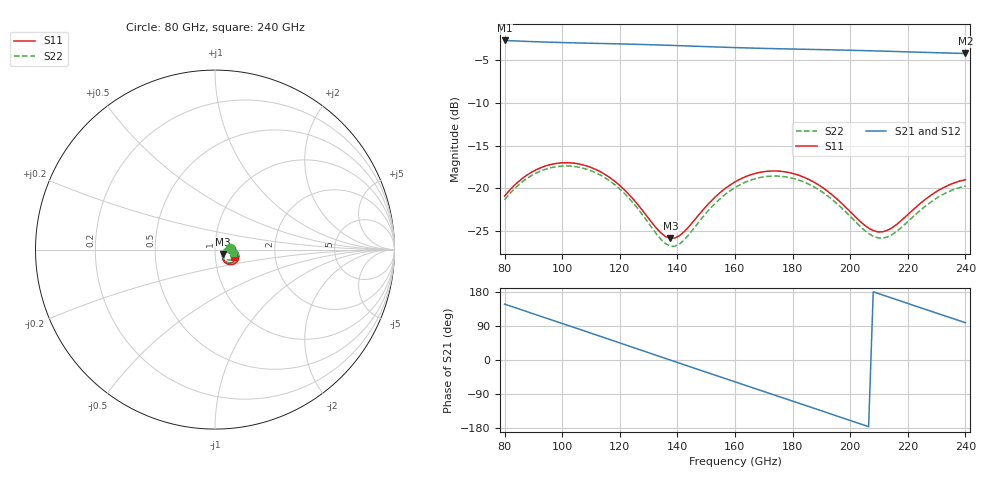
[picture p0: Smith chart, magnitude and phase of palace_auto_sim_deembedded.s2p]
! Created with skrf 1.11.0 (http://scikit-rf.org).
# GHz S DB R 50.0
!freq dBS11 angS11 dBS21 angS21 dBS12 angS12 dBS22 angS22
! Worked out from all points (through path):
!   101 points, 80 GHz to 240 GHz, reference 50 ohm
!   highest |S21| = -2.75 dB at 80 GHz (marker M1); lowest = -4.3 dB at 240 GHz (marker M2)
!   group delay of S21, straight-line fit = 7.1 ps
!   lowest |S11| = -25.8 dB at 137.6 GHz (marker M3), VSWR 1.11, Z = 54.7 - j2.6 ohm
!   |S11| at or under -10 dB: start of sweep to end of sweep
!   |S22| runs from -26.7 to -17.4 dB; largest |S21 - S12| = 7.4e-14
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80  -20.90 3.9  -2.75 147.4  -2.75 147.4  -21.34 7.3
88  -18.40 -3.3  -2.86 127.0  -2.86 127.0  -18.79 0.4
94.4  -17.37 -12.5  -2.94 110.7  -2.94 110.7  -17.74 -8.6
100.8  -17.01 -22.7  -3.00 94.3  -3.00 94.3  -17.38 -18.6
107.2  -17.26 -33.0  -3.05 78.0  -3.05 78.0  -17.64 -28.8
113.6  -18.13 -42.4  -3.10 61.5  -3.10 61.5  -18.51 -38.2
121.6  -20.17 -51.1  -3.16 40.9  -3.16 40.9  -20.59 -46.9
128  -22.63 -51.7  -3.22 24.4  -3.22 24.4  -23.13 -47.9
134.4  -25.24 -39.5  -3.28 7.9  -3.28 7.9  -25.99 -35.7
137.6  -25.84 -27.6  -3.32 -0.3  -3.32 -0.3  -26.74 -23.1
142.4  -25.04 -10.3  -3.38 -12.7  -3.38 -12.7  -26.00 -3.8
148.8  -22.54 -0.5  -3.45 -29.1  -3.45 -29.1  -23.35 7.4
160  -19.25 -6.6  -3.58 -57.6  -3.58 -57.6  -19.90 1.9
172.8  -17.97 -24.2  -3.70 -90.2  -3.70 -90.2  -18.57 -15.2
179.2  -18.19 -33.4  -3.74 -106.4  -3.74 -106.4  -18.76 -24.3
187.2  -19.23 -43.6  -3.80 -126.8  -3.80 -126.8  -19.78 -34.3
195.2  -21.18 -49.5  -3.86 -147.3  -3.86 -147.3  -21.72 -40.3
201.6  -23.25 -47.4  -3.91 -163.7  -3.91 -163.7  -23.81 -38.4
208  -24.93 -34.9  -3.96 179.9  -3.96 179.9  -25.59 -26.1
214.4  -24.63 -17.5  -4.02 163.6  -4.02 163.6  -25.42 -8.2
228.8  -20.63 -9.5  -4.17 126.9  -4.17 126.9  -21.41 1.4
240  -18.98 -20.8  -4.27 98.5  -4.27 98.5  -19.73 -9.6
